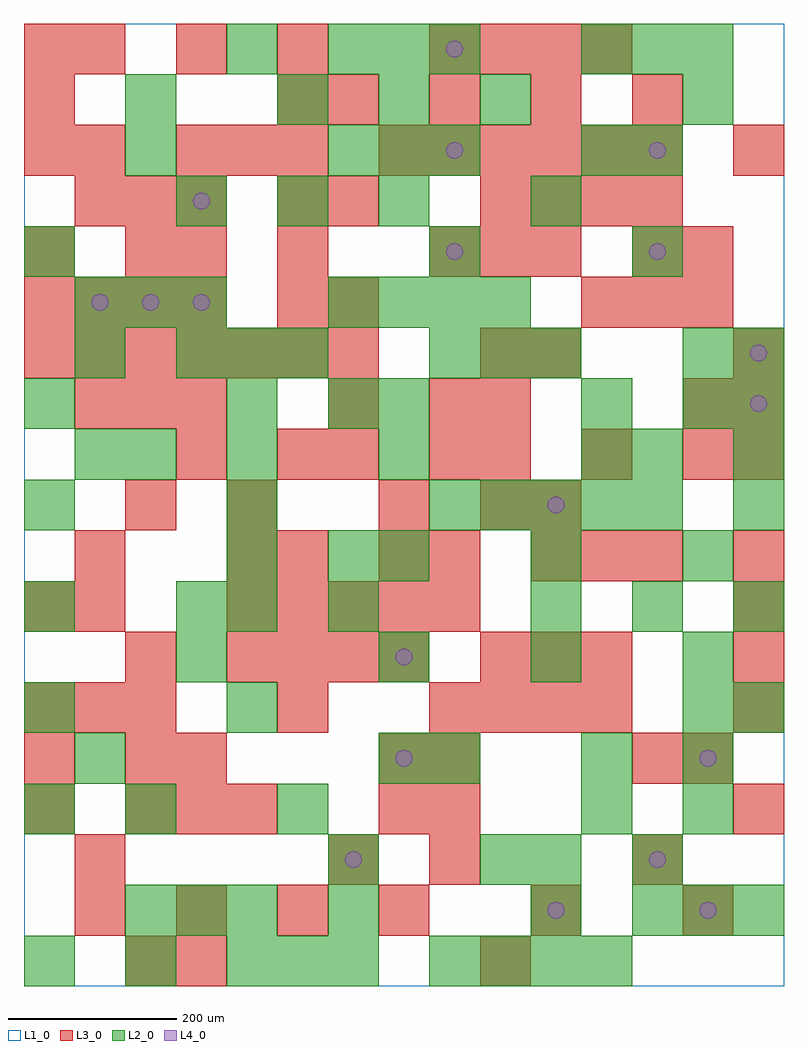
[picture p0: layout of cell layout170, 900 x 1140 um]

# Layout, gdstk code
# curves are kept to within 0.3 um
import gdstk
lib = gdstk.Library(unit=1e-6, precision=1e-09)
def R(c, l, rs):  # rectangles x0, y0, x1, y1
    for r in rs: c.add(gdstk.rectangle(r[:2], r[2:], *l))
def A(c, l, x, y, w, h, nx, ny, dx, dy):  # array of equal rectangles
    R(c, l, [(x+i*dx, y+j*dy, x+i*dx+w, y+j*dy+h) for i in range(nx) for j in range(ny)])
def P(c, l, *ps):  # polygons
    for p in ps: c.add(gdstk.Polygon(p, *l))
L1_0 = (1, 0)
L2_0 = (2, 0)
L3_0 = (3, 0)
L4_0 = (4, 0)

layout170 = lib.new_cell('layout170')
R(layout170, L1_0, [(0,0,900,1140)])
A(layout170, L2_0, 0, 0, 60, 60, 3, 1, 120, 0)
A(layout170, L2_0, 360, 0, 60, 60, 1, 3, 0, 60)
A(layout170, L2_0, 480, 0, 60, 60, 4, 1, 60, 0)
A(layout170, L2_0, 120, 60, 60, 60, 3, 1, 60, 0)
A(layout170, L2_0, 720, 60, 60, 60, 3, 1, 60, 0)
A(layout170, L2_0, 0, 180, 60, 60, 1, 3, 0, 120)
A(layout170, L2_0, 780, 180, 60, 60, 1, 3, 0, 60)
A(layout170, L2_0, 420, 360, 60, 60, 3, 2, 180, 120)
A(layout170, L2_0, 600, 420, 60, 60, 3, 1, 120, 0)
A(layout170, L2_0, 0, 540, 60, 60, 3, 1, 240, 0)
A(layout170, L2_0, 540, 540, 60, 60, 4, 1, 60, 0)
A(layout170, L2_0, 840, 540, 60, 60, 1, 4, 0, 60)
A(layout170, L2_0, 180, 720, 60, 60, 3, 1, 60, 0)
A(layout170, L2_0, 480, 720, 60, 60, 3, 1, 60, 0)
A(layout170, L2_0, 60, 780, 60, 60, 3, 1, 60, 0)
A(layout170, L2_0, 360, 780, 60, 60, 4, 1, 60, 0)
A(layout170, L2_0, 180, 900, 60, 60, 3, 1, 120, 0)
A(layout170, L2_0, 360, 960, 60, 60, 3, 2, 60, 120)
A(layout170, L2_0, 300, 1020, 60, 60, 3, 1, 120, 0)
A(layout170, L2_0, 660, 1080, 60, 60, 3, 1, 60, 0)
R(layout170, L2_0, [(300,0,360,60), (600,60,660,120), (540,120,600,180), (600,120,660,180), (720,120,780,180), (120,180,180,240), (300,180,360,240), (660,180,720,240), (60,240,120,300), (420,240,480,300), (480,240,540,300), (660,240,720,300), (240,300,300,360), (840,300,900,360), (180,360,240,420), (180,420,240,480), (240,420,300,480), (360,420,420,480), (240,480,300,540), (360,480,420,540), (60,600,120,660), (120,600,180,660), (240,600,300,660), (420,600,480,660), (660,600,720,660), (720,600,780,660), (0,660,60,720), (240,660,300,720), (360,660,420,720), (420,660,480,720), (660,660,720,720), (780,660,840,720), (60,720,120,780), (780,720,840,780), (0,840,60,900), (480,840,540,900), (720,840,780,900), (600,900,660,960), (120,960,180,1020), (660,960,720,1020), (720,960,780,1020), (120,1020,180,1080), (780,1020,840,1080), (240,1080,300,1140)])
A(layout170, L3_0, 60, 60, 60, 60, 4, 1, 120, 0)
A(layout170, L3_0, 480, 120, 60, 60, 1, 3, 0, 60)
A(layout170, L3_0, 120, 180, 60, 60, 3, 1, 60, 0)
A(layout170, L3_0, 0, 300, 60, 60, 3, 1, 60, 0)
A(layout170, L3_0, 480, 300, 60, 60, 4, 2, 60, 780)
A(layout170, L3_0, 840, 300, 60, 60, 1, 4, 0, 60)
A(layout170, L3_0, 240, 360, 60, 60, 4, 1, 60, 0)
A(layout170, L3_0, 540, 360, 60, 60, 3, 1, 60, 0)
A(layout170, L3_0, 240, 420, 60, 60, 5, 1, 60, 0)
A(layout170, L3_0, 600, 480, 60, 60, 3, 1, 60, 0)
A(layout170, L3_0, 540, 600, 60, 60, 3, 1, 120, 0)
A(layout170, L3_0, 840, 600, 60, 60, 1, 3, 0, 60)
A(layout170, L3_0, 60, 660, 60, 60, 3, 2, 60, 240)
A(layout170, L3_0, 360, 660, 60, 60, 1, 3, 0, 120)
A(layout170, L3_0, 0, 720, 60, 60, 7, 1, 60, 0)
A(layout170, L3_0, 0, 780, 60, 60, 4, 1, 60, 0)
A(layout170, L3_0, 300, 780, 60, 60, 1, 3, 0, 60)
A(layout170, L3_0, 660, 780, 60, 60, 3, 1, 60, 0)
A(layout170, L3_0, 480, 840, 60, 60, 3, 1, 60, 0)
A(layout170, L3_0, 540, 900, 60, 60, 4, 1, 60, 0)
A(layout170, L3_0, 0, 960, 60, 60, 1, 3, 0, 60)
A(layout170, L3_0, 180, 960, 60, 60, 3, 1, 60, 0)
A(layout170, L3_0, 420, 960, 60, 60, 6, 1, 60, 0)
A(layout170, L3_0, 360, 1020, 60, 60, 4, 1, 120, 0)
A(layout170, L3_0, 60, 1080, 60, 60, 3, 1, 120, 0)
R(layout170, L3_0, [(120,0,180,60), (180,0,240,60), (540,0,600,60), (600,60,660,120), (780,60,840,120), (60,120,120,180), (360,120,420,180), (720,120,780,180), (0,180,60,240), (420,180,480,240), (840,180,900,240), (0,240,60,300), (120,240,180,300), (180,240,240,300), (420,240,480,300), (720,240,780,300), (780,240,840,300), (300,300,360,360), (120,360,180,420), (0,420,60,480), (60,420,120,480), (60,480,120,540), (240,480,300,540), (300,480,360,540), (420,480,480,540), (480,480,540,540), (120,540,180,600), (240,540,300,600), (420,540,480,600), (540,540,600,600), (600,540,660,600), (180,600,240,660), (300,600,360,660), (360,600,420,660), (480,600,540,660), (480,660,540,720), (540,660,600,720), (780,660,840,720), (540,720,600,780), (600,720,660,780), (0,840,60,900), (120,840,180,900), (180,840,240,900), (720,840,780,900), (780,840,840,900), (60,960,120,1020), (840,960,900,1020), (300,1020,360,1080)])
P(layout170, L4_0, [(100,810),(99.239,813.827),(97.071,817.071),(93.827,819.239),(90,820),(86.173,819.239),(82.929,817.071),(80.761,813.827),(80,810),(80.761,806.173),(82.929,802.929),(86.173,800.761),(90,800),(93.827,800.761),(97.071,802.929),(99.239,806.173)],
  [(160,810),(159.239,813.827),(157.071,817.071),(153.827,819.239),(150,820),(146.173,819.239),(142.929,817.071),(140.761,813.827),(140,810),(140.761,806.173),(142.929,802.929),(146.173,800.761),(150,800),(153.827,800.761),(157.071,802.929),(159.239,806.173)],
  [(220,810),(219.239,813.827),(217.071,817.071),(213.827,819.239),(210,820),(206.173,819.239),(202.929,817.071),(200.761,813.827),(200,810),(200.761,806.173),(202.929,802.929),(206.173,800.761),(210,800),(213.827,800.761),(217.071,802.929),(219.239,806.173)],
  [(220,930),(219.239,933.827),(217.071,937.071),(213.827,939.239),(210,940),(206.173,939.239),(202.929,937.071),(200.761,933.827),(200,930),(200.761,926.173),(202.929,922.929),(206.173,920.761),(210,920),(213.827,920.761),(217.071,922.929),(219.239,926.173)],
  [(400,150),(399.239,153.827),(397.071,157.071),(393.827,159.239),(390,160),(386.173,159.239),(382.929,157.071),(380.761,153.827),(380,150),(380.761,146.173),(382.929,142.929),(386.173,140.761),(390,140),(393.827,140.761),(397.071,142.929),(399.239,146.173)],
  [(460,270),(459.239,273.827),(457.071,277.071),(453.827,279.239),(450,280),(446.173,279.239),(442.929,277.071),(440.761,273.827),(440,270),(440.761,266.173),(442.929,262.929),(446.173,260.761),(450,260),(453.827,260.761),(457.071,262.929),(459.239,266.173)],
  [(460,390),(459.239,393.827),(457.071,397.071),(453.827,399.239),(450,400),(446.173,399.239),(442.929,397.071),(440.761,393.827),(440,390),(440.761,386.173),(442.929,382.929),(446.173,380.761),(450,380),(453.827,380.761),(457.071,382.929),(459.239,386.173)],
  [(520,870),(519.239,873.827),(517.071,877.071),(513.827,879.239),(510,880),(506.173,879.239),(502.929,877.071),(500.761,873.827),(500,870),(500.761,866.173),(502.929,862.929),(506.173,860.761),(510,860),(513.827,860.761),(517.071,862.929),(519.239,866.173)],
  [(520,990),(519.239,993.827),(517.071,997.071),(513.827,999.239),(510,1000),(506.173,999.239),(502.929,997.071),(500.761,993.827),(500,990),(500.761,986.173),(502.929,982.929),(506.173,980.761),(510,980),(513.827,980.761),(517.071,982.929),(519.239,986.173)],
  [(520,1110),(519.239,1113.827),(517.071,1117.071),(513.827,1119.239),(510,1120),(506.173,1119.239),(502.929,1117.071),(500.761,1113.827),(500,1110),(500.761,1106.173),(502.929,1102.929),(506.173,1100.761),(510,1100),(513.827,1100.761),(517.071,1102.929),(519.239,1106.173)],
  [(640,90),(639.239,93.827),(637.071,97.071),(633.827,99.239),(630,100),(626.173,99.239),(622.929,97.071),(620.761,93.827),(620,90),(620.761,86.173),(622.929,82.929),(626.173,80.761),(630,80),(633.827,80.761),(637.071,82.929),(639.239,86.173)],
  [(640,570),(639.239,573.827),(637.071,577.071),(633.827,579.239),(630,580),(626.173,579.239),(622.929,577.071),(620.761,573.827),(620,570),(620.761,566.173),(622.929,562.929),(626.173,560.761),(630,560),(633.827,560.761),(637.071,562.929),(639.239,566.173)],
  [(760,150),(759.239,153.827),(757.071,157.071),(753.827,159.239),(750,160),(746.173,159.239),(742.929,157.071),(740.761,153.827),(740,150),(740.761,146.173),(742.929,142.929),(746.173,140.761),(750,140),(753.827,140.761),(757.071,142.929),(759.239,146.173)],
  [(760,870),(759.239,873.827),(757.071,877.071),(753.827,879.239),(750,880),(746.173,879.239),(742.929,877.071),(740.761,873.827),(740,870),(740.761,866.173),(742.929,862.929),(746.173,860.761),(750,860),(753.827,860.761),(757.071,862.929),(759.239,866.173)],
  [(760,990),(759.239,993.827),(757.071,997.071),(753.827,999.239),(750,1000),(746.173,999.239),(742.929,997.071),(740.761,993.827),(740,990),(740.761,986.173),(742.929,982.929),(746.173,980.761),(750,980),(753.827,980.761),(757.071,982.929),(759.239,986.173)],
  [(820,90),(819.239,93.827),(817.071,97.071),(813.827,99.239),(810,100),(806.173,99.239),(802.929,97.071),(800.761,93.827),(800,90),(800.761,86.173),(802.929,82.929),(806.173,80.761),(810,80),(813.827,80.761),(817.071,82.929),(819.239,86.173)],
  [(820,270),(819.239,273.827),(817.071,277.071),(813.827,279.239),(810,280),(806.173,279.239),(802.929,277.071),(800.761,273.827),(800,270),(800.761,266.173),(802.929,262.929),(806.173,260.761),(810,260),(813.827,260.761),(817.071,262.929),(819.239,266.173)],
  [(880,690),(879.239,693.827),(877.071,697.071),(873.827,699.239),(870,700),(866.173,699.239),(862.929,697.071),(860.761,693.827),(860,690),(860.761,686.173),(862.929,682.929),(866.173,680.761),(870,680),(873.827,680.761),(877.071,682.929),(879.239,686.173)],
  [(880,750),(879.239,753.827),(877.071,757.071),(873.827,759.239),(870,760),(866.173,759.239),(862.929,757.071),(860.761,753.827),(860,750),(860.761,746.173),(862.929,742.929),(866.173,740.761),(870,740),(873.827,740.761),(877.071,742.929),(879.239,746.173)])

lib.write_gds('layout170.gds')
